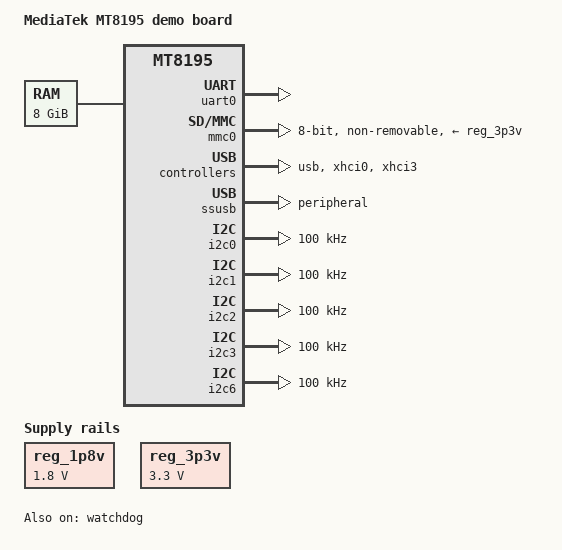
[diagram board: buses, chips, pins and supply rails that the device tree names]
// SPDX-License-Identifier: GPL-2.0 OR MIT
/*
 * Copyright (C) 2021 BayLibre SAS.
 * Author: Fabien Parent <fparent@baylibre.com>
 */

/dts-v1/;

#include <config.h>
#include "mt8195.dtsi"

/ {
	model = "MediaTek MT8195 demo board";
	compatible = "mediatek,mt8195-demo", "mediatek,mt8195";

	memory@40000000 {
		/* 8GB */
		device_type = "memory";
		reg = <0 0x40000000 2 0x00000000>;
	};

	firmware: firmware {
		optee {
			compatible = "linaro,optee-tz";
			method = "smc";
		};

		psci: psci {
			compatible = "arm,psci-1.0";
			method = "smc";
		};
	};

	reserved-memory {
		#address-cells = <2>;
		#size-cells = <2>;
		ranges;

		/* 2 MiB reserved for ARM Trusted Firmware (BL31) */
		bl31_secmon_reserved: secmon@54600000 {
			no-map;
			reg = <0 0x54600000 0x0 0x200000>;
		};

		/* 12 MiB reserved for OP-TEE (BL32)
		 * +-----------------------+ 0x43e0_0000
		 * |      SHMEM 2MiB       |
		 * +-----------------------+ 0x43c0_0000
		 * |        | TA_RAM  8MiB |
		 * + TZDRAM +--------------+ 0x4340_0000
		 * |        | TEE_RAM 2MiB |
		 * +-----------------------+ 0x4320_0000
		 */
		optee_reserved: optee@43200000 {
			no-map;
			reg = <0 0x43200000 0 0x00c00000>;
		};
	};

	chosen {
		stdout-path = &uart0;
	};

	reg_1p8v: regulator-1p8v {
		compatible = "regulator-fixed";
		regulator-name = "fixed-1.8V";
		regulator-min-microvolt = <1800000>;
		regulator-max-microvolt = <1800000>;
		regulator-boot-on;
		regulator-always-on;
	};

	reg_3p3v: regulator-3p3v {
		compatible = "regulator-fixed";
		regulator-name = "fixed-3.3V";
		regulator-min-microvolt = <3300000>;
		regulator-max-microvolt = <3300000>;
		regulator-boot-on;
		regulator-always-on;
	};
};

&pio {
	i2c0_pins: i2c0 {
		pinmux = <PINMUX_GPIO8__FUNC_SDA0>,
			 <PINMUX_GPIO9__FUNC_SCL0>;
		input-enable;
		bias-pull-up;
	};

	i2c1_pins: i2c1 {
		pinmux = <PINMUX_GPIO10__FUNC_SDA1>,
			 <PINMUX_GPIO11__FUNC_SCL1>;
		input-enable;
		bias-pull-up;
	};

	i2c2_pins: i2c2 {
		pinmux = <PINMUX_GPIO12__FUNC_SDA2>,
			 <PINMUX_GPIO13__FUNC_SCL2>;
		input-enable;
		bias-pull-up;
	};

	i2c3_pins: i2c3 {
		pinmux = <PINMUX_GPIO14__FUNC_SDA3>,
			 <PINMUX_GPIO15__FUNC_SCL3>;
		input-enable;
		bias-pull-up;
	};

	i2c6_pins: i2c6 {
		pinmux = <PINMUX_GPIO25__FUNC_SDA6>,
			 <PINMUX_GPIO26__FUNC_SCL6>;
		input-enable;
		bias-pull-up;
	};

	ethdefault: ethdefault {
		txdpins {
			pinmux = <PINMUX_GPIO77__FUNC_GBE_TXD3>,
				 <PINMUX_GPIO78__FUNC_GBE_TXD2>,
				 <PINMUX_GPIO79__FUNC_GBE_TXD1>,
				 <PINMUX_GPIO80__FUNC_GBE_TXD0>;
			drive-strength = <MTK_DRIVE_8mA>;
		};
		ccpins {
			pinmux = <PINMUX_GPIO85__FUNC_GBE_TXC>,
				 <PINMUX_GPIO88__FUNC_GBE_TXEN>,
				 <PINMUX_GPIO87__FUNC_GBE_RXDV>,
				 <PINMUX_GPIO86__FUNC_GBE_RXC>;
			drive-strength = <MTK_DRIVE_8mA>;
		};
		rxdpins {
			pinmux = <PINMUX_GPIO81__FUNC_GBE_RXD3>,
				 <PINMUX_GPIO82__FUNC_GBE_RXD2>,
				 <PINMUX_GPIO83__FUNC_GBE_RXD1>,
				 <PINMUX_GPIO84__FUNC_GBE_RXD0>;
		};
		mdiopins {
			pinmux = <PINMUX_GPIO89__FUNC_GBE_MDC>,
				 <PINMUX_GPIO90__FUNC_GBE_MDIO>;
			input-enable;
		};
		powerpins {
			pinmux = <PINMUX_GPIO91__FUNC_GPIO91>,
				 <PINMUX_GPIO92__FUNC_GPIO92>;
			output-high;
		};
		phyresetpin {
			pinmux = <PINMUX_GPIO93__FUNC_GPIO93>;
		};
	};

	ethsleep: ethsleep {
		txdpins {
			pinmux = <PINMUX_GPIO77__FUNC_GPIO77>,
				 <PINMUX_GPIO78__FUNC_GPIO78>,
				 <PINMUX_GPIO79__FUNC_GPIO79>,
				 <PINMUX_GPIO80__FUNC_GPIO80>;
		};
		ccpins {
			pinmux = <PINMUX_GPIO85__FUNC_GPIO85>,
				 <PINMUX_GPIO88__FUNC_GPIO88>,
				 <PINMUX_GPIO87__FUNC_GPIO87>,
				 <PINMUX_GPIO86__FUNC_GPIO86>;
		};
		rxdpins {
			pinmux = <PINMUX_GPIO81__FUNC_GPIO81>,
				 <PINMUX_GPIO82__FUNC_GPIO82>,
				 <PINMUX_GPIO83__FUNC_GPIO83>,
				 <PINMUX_GPIO84__FUNC_GPIO84>;
		};
		mdiopins {
			pinmux = <PINMUX_GPIO89__FUNC_GPIO89>,
				 <PINMUX_GPIO90__FUNC_GPIO90>;
			input-disable;
			bias-disable;
		};
		powerpins {
			pinmux = <PINMUX_GPIO91__FUNC_GPIO91>,
				 <PINMUX_GPIO92__FUNC_GPIO92>;
			input-disable;
			bias-disable;
		};
		phyresetpin {
			pinmux = <PINMUX_GPIO93__FUNC_GPIO93>;
			input-disable;
			bias-disable;
		};
	};
};

&watchdog {
	status = "okay";
};

&uart0 {
	status = "okay";
};

&mmc0 {
	bus-width = <8>;
	max-frequency = <200000000>;
	cap-mmc-highspeed;
	mmc-hs200-1_8v;
	mmc-hs400-1_8v;
	hs400-ds-delay = <0x14c11>;
	cap-mmc-hw-reset;
	vmmc-supply = <&reg_3p3v>;
	vqmmc-supply = <&reg_1p8v>;
	non-removable;
	status = "okay";
};

&usb {
	status = "okay";
};

&ssusb {
	mediatek,force-vbus;
	maximum-speed = "high-speed";
	dr_mode = "peripheral";
	status = "okay";
};

&xhci0 {
	status = "okay";
};

&xhci3 {
	status = "okay";
};

&i2c0 {
	clock-frequency = <100000>;
	pinctrl-0 = <&i2c0_pins>;
	pinctrl-names = "default";
	status = "okay";
};

&i2c1 {
	clock-frequency = <100000>;
	pinctrl-0 = <&i2c1_pins>;
	pinctrl-names = "default";
	status = "okay";
};

&i2c2 {
	clock-frequency = <100000>;
	pinctrl-0 = <&i2c2_pins>;
	pinctrl-names = "default";
	status = "okay";
};

&i2c3 {
	clock-frequency = <100000>;
	pinctrl-0 = <&i2c3_pins>;
	pinctrl-names = "default";
	status = "okay";
};

&i2c6 {
	clock-frequency = <100000>;
	pinctrl-0 = <&i2c6_pins>;
	pinctrl-names = "default";
	status = "okay";
};

&eth {
	phy-mode ="rgmii-rxid";
	phy-handle = <&ethphy0>;
	mediatek,tx-delay-ps = <2030>;
	pinctrl-names = "default", "sleep";
	pinctrl-0 = <&ethdefault>;
	pinctrl-1 = <&ethsleep>;
	mac-address = [00 55 7b b5 7d f7];
	status = "disabled";

	mdio {
		compatible = "snps,dwmac-mdio";
		#address-cells = <1>;
		#size-cells = <0>;
		ethphy0: ethphy0@1 {
			compatible = "ethernet-phy-id001c.c916";
			reg = <0x1>;
		};
	};
};
